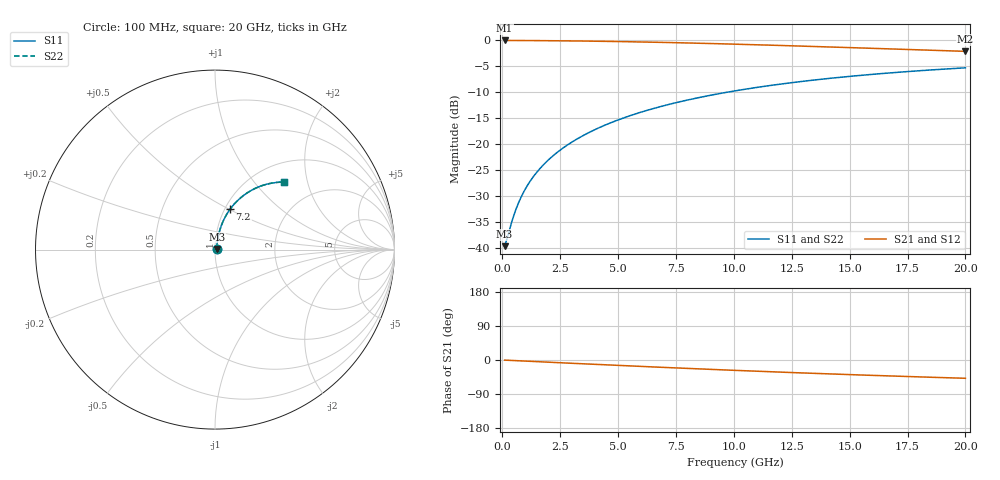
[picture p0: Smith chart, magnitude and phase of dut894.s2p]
! Touchstone file exported from HFSS 2024.1.0
!  File:  C:/UserFiles/LocalFiles/RDL_TSV_Batchsim/temp_RDL_top_894_1779857320.aedt
!  Generated:  12:50:41 PM May 27, 2026
!  Design:  RDL_top
!  Project:  temp_RDL_top_894_1779857320
!  Setup:  Setup1
!  Solution:  Sweep
! Variables:
!  dtsv = 10.80580581um
!  hbump = 3um
!  htsv = 66.18um
!  ldown = 100um
!  lrdl = 624.07um
!  p = 40
!  p1 = 44.98um
!  rhole = 1um
!  t = 450um
!  tdown = 3.915915916um
!  trdl = 2.16um
!  wdown = 15.38538539um
!  wrdl = 10.55um
# GHz S MA R 50.000000
! Terminal data exported
! Port[1] = Box2_T1
! Port[2] = Box2_T2
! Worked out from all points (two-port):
!   200 points, 100 MHz to 20 GHz, reference 50 ohm
!   highest |S21| = -0.08 dB at 100 MHz (marker M1); lowest = -2.2 dB at 20 GHz (marker M2)
!   |S21| within 3 dB of the highest: start of sweep to end of sweep
!   lowest |S11| = -39.7 dB at 100 MHz (marker M3), VSWR 1.02, Z = 51 + j0.363 ohm
!   |S11| at or under -10 dB: start of sweep to 9.789 GHz
!   |S22| runs from -39.7 to -5.4 dB; largest |S21 - S12| = 3.9e-15
!   S11 on the Smith chart (normalised r, x): 100 MHz: 1.02, +0.01; 7.2 GHz: 1.06, +0.50; 20 GHz: 1.37, +1.45
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0.1  0.0103 20.2  0.9903 -0.3  0.9903 -0.3  0.0103 20.2
! Gamma 0 0 0 0
! Port Impedance 50 0 50 0
0.2  0.01207 36.1  0.9903 -0.6  0.9903 -0.6  0.01207 36.1
0.4  0.01739 54.5  0.99 -1.2  0.99 -1.2  0.01739 54.5
0.5  0.02045 59.7  0.9898 -1.5  0.9898 -1.5  0.02045 59.7
0.7  0.02689 66.1  0.9894 -2.1  0.9894 -2.1  0.02689 66.1
1  0.03681 71.0  0.9886 -2.9  0.9886 -2.9  0.03681 71.0
1.3  0.0468 73.5  0.9877 -3.8  0.9877 -3.8  0.0468 73.5
1.7  0.06016 75.2  0.9863 -5.0  0.9863 -5.0  0.06016 75.2
2.2  0.07687 76.2  0.9844 -6.4  0.9844 -6.4  0.07687 76.2
2.8  0.09692 76.3  0.9816 -8.1  0.9816 -8.1  0.09692 76.4
3.5  0.1202 75.9  0.9776 -10.1  0.9776 -10.1  0.1202 75.9
4.2  0.1434 75.0  0.973 -12.0  0.973 -12.0  0.1434 75.1
5  0.1697 73.8  0.9668 -14.2  0.9668 -14.2  0.1697 73.8
5.9  0.1987 72.2  0.9589 -16.7  0.9589 -16.7  0.1987 72.2
6.8  0.2272 70.4  0.9501 -19.1  0.9501 -19.1  0.2272 70.4
7.2  0.2396 69.6  0.9459 -20.1  0.9459 -20.1  0.2396 69.6
8.6  0.2819 66.6  0.9301 -23.8  0.9301 -23.8  0.2819 66.6
10.1  0.3249 63.4  0.9115 -27.5  0.9115 -27.5  0.3249 63.4
11.7  0.3679 60.0  0.8905 -31.3  0.8905 -31.3  0.3679 60.1
13.4  0.41 56.5  0.8673 -35.1  0.8673 -35.1  0.41 56.5
16.7  0.4812 50.1  0.8217 -42.0  0.8217 -42.0  0.4812 50.1
20  0.5395 44.2  0.7776 -48.3  0.7776 -48.3  0.5395 44.2
